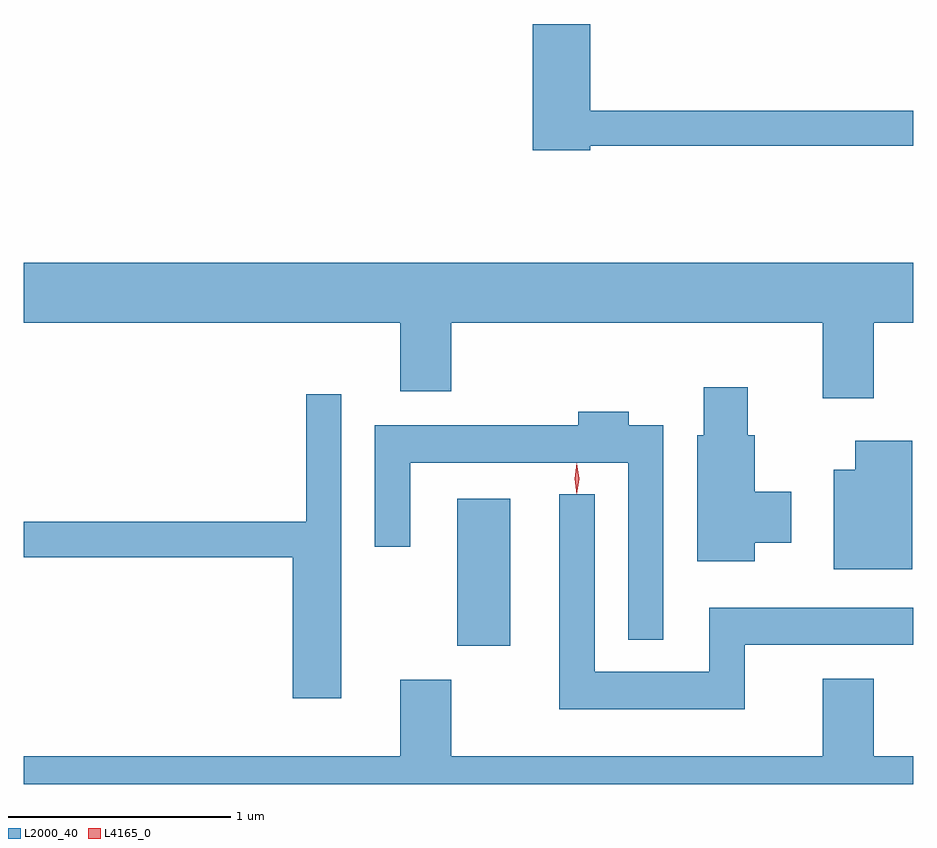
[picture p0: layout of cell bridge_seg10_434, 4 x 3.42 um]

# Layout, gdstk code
import gdstk
lib = gdstk.Library(unit=1e-6, precision=1e-09)
def R(c, l, rs):  # rectangles x0, y0, x1, y1
    for r in rs: c.add(gdstk.rectangle(r[:2], r[2:], *l))
def P(c, l, *ps):  # polygons
    for p in ps: c.add(gdstk.Polygon(p, *l))
L2000_40 = (2000, 40)
L4165_0 = (4165, 0)

bridge_seg10_434 = lib.new_cell('bridge_seg10_434')
R(bridge_seg10_434, L2000_40, [(1410.766,2105.801,1411.004,2106.464)])
P(bridge_seg10_434, L2000_40, [(1411.364,2108.051),(1412.817,2108.051),(1412.817,2108.209),(1411.364,2108.209),(1411.364,2108.599),(1411.106,2108.599),(1411.106,2108.031),(1411.364,2108.031)],
  [(1412.639,2107.256),(1412.817,2107.256),(1412.817,2107.524),(1408.817,2107.524),(1408.817,2107.256),(1410.511,2107.256),(1410.511,2106.946),(1410.739,2106.946),(1410.739,2107.256),(1412.411,2107.256),(1412.411,2106.916),(1412.639,2106.916)],
  [(1412.104,2106.266),(1412.269,2106.266),(1412.269,2106.494),(1412.104,2106.494),(1412.104,2106.749),(1412.074,2106.749),(1412.074,2106.964),(1411.876,2106.964),(1411.876,2106.749),(1411.846,2106.749),(1411.846,2106.181),(1412.104,2106.181)],
  [(1410.244,2106.933),(1410.086,2106.933),(1410.086,2106.359),(1408.817,2106.359),(1408.817,2106.201),(1410.026,2106.201),(1410.026,2105.566),(1410.244,2105.566)],
  [(1411.694,2106.794),(1411.539,2106.794),(1411.539,2106.854),(1411.311,2106.854),(1411.311,2106.794),(1410.396,2106.794),(1410.396,2106.248),(1410.554,2106.248),(1410.554,2106.626),(1411.536,2106.626),(1411.536,2105.828),(1411.694,2105.828)],
  [(1412.814,2106.724),(1412.556,2106.724),(1412.556,2106.594),(1412.461,2106.594),(1412.461,2106.146),(1412.814,2106.146)],
  [(1412.059,2105.806),(1412.817,2105.806),(1412.817,2105.974),(1411.901,2105.974),(1411.901,2105.684),(1411.384,2105.684),(1411.384,2106.483),(1411.226,2106.483),(1411.226,2105.516),(1412.059,2105.516)],
  [(1412.817,2105.304),(1412.639,2105.304),(1412.639,2105.654),(1412.411,2105.654),(1412.411,2105.304),(1410.739,2105.304),(1410.739,2105.649),(1410.511,2105.649),(1410.511,2105.304),(1408.817,2105.304),(1408.817,2105.18),(1412.817,2105.18)])
P(bridge_seg10_434, L4165_0, [(1411.305,2106.483),(1411.304,2106.484),(1411.295,2106.553),(1411.304,2106.622),(1411.305,2106.623),(1411.305,2106.622),(1411.315,2106.553),(1411.305,2106.484)])

lib.write_gds('bridge_seg10_434.gds')
